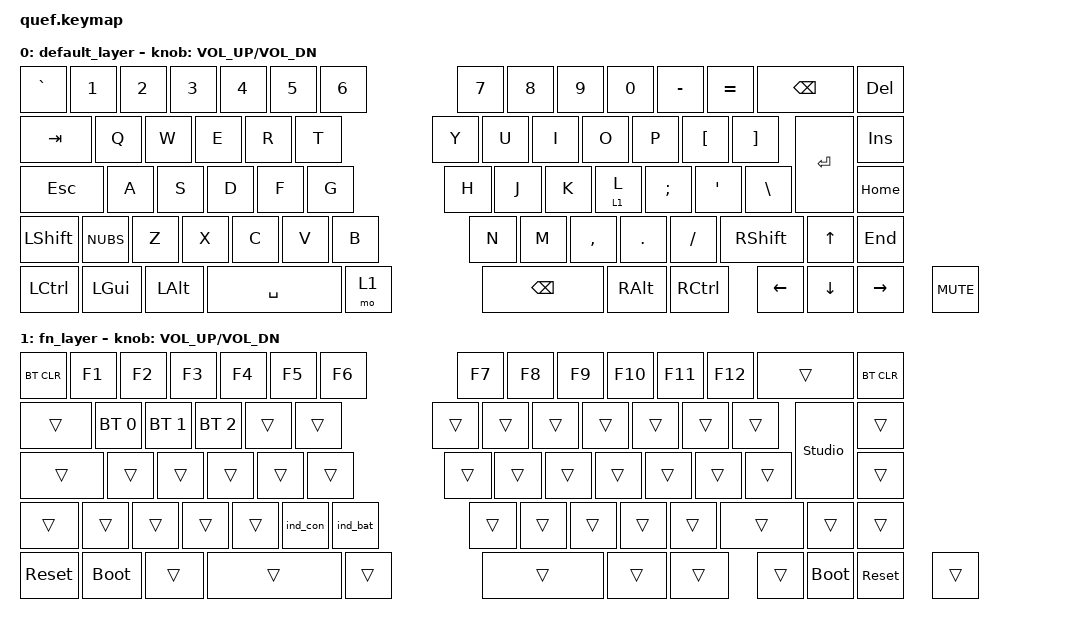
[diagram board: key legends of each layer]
/*
 * Copyright (c) 2020 The ZMK Contributors
 *
 * SPDX-License-Identifier: MIT
 */

#include <behaviors.dtsi>
#include <dt-bindings/zmk/bt.h>
#include <dt-bindings/zmk/keys.h>
#include <behaviors/rgbled_widget.dtsi>  // needed to use rgb_widget behaviors
#include <dt-bindings/zmk/ext_power.h>

/ {
    keymap {
        compatible = "zmk,keymap";

// ----------------------------------------------      -----------------------------------------------------
// | 0    |  1   |  2  |  3   |  4  |  5  |  6  |      |  7  |  8  |  9  |  ö  |  ü  |  ó  |  BKSPC | DEL  |
// | TAB   |  Q   |  W  |  E   |  R  |  T  |        |  Z  |  U  |  I  |  O  |  P  |  Ő  |  Ú  | ENT | INS  |
// | ESC    |  A   |  S  |  D   |  F  |  G  |        |  H  |  J  |  K  |  L  |  É  |  Á  |  ű  |    | HOME |
// | SHIFT | Í | Y  |  X  |  C  |  V   |  B  |        |  N  |  M  |  ,  |  .  |  -  |  RSHFT  |  UP | END  |
// | LCTRL   | LGUI | LALT |   FN   | SPACE  |          |     SPACE     | RALT | RCTRL  | LFT | DWN | RGHT |
// -------------------------------------------        ------------------------------------------------------

        default_layer {
            bindings = <
    &kp GRAVE            &kp N1   &kp N2   &kp N3    &kp N4 &kp N5 &kp N6 /**/ &kp N7    &kp N8   &kp N9    &kp N0    &kp MINUS &kp EQUAL      &kp BSPC      &kp DEL
    &kp TAB              &kp Q    &kp W    &kp E     &kp R  &kp T         /**/ &kp Y     &kp U    &kp I     &kp O     &kp P     &kp LBKT  &kp RBKT  &kp RET  &kp INS
    &kp ESC              &kp A    &kp S    &kp D     &kp F  &kp G         /**/ &kp H     &kp J    &kp K     &lt 1 L   &kp SEMI  &kp SQT   &kp BSLH           &kp HOME
    &kp LSHFT &kp NUBS  &kp Z    &kp X    &kp C     &kp V  &kp B         /**/  &kp N     &kp M    &kp COMMA &kp DOT   &kp FSLH      &kp RSHFT       &kp UP   &kp END
    &kp LCTRL            &kp LGUI &kp LALT &kp SPACE   &mo 1             /**/ &kp BSPC           &kp RALT  &kp RCTRL                     &kp LEFT  &kp DOWN &kp RIGHT   &kp C_MUTE
            >;
            sensor-bindings = <&inc_dec_kp C_VOL_UP C_VOL_DN>;
        };

// ----------------------------------------------     -----------------------------------------------------
// |BT_CLR|  F1  |  F2 |  F3  |  F4 |  F5 |  F6 |     |  F7 |  F8 |  F9 | F10 | F11 | F12 |        |BT_CLR|
// |       | BT-0 | BT-1| BT-2 |     |     |       |     |     |     |     |     |     |     |     |      |
// |        |      |     |      |     |     |       |     |     |     |     |     |     |     |    |      |
// |         |      |     |     |      |     |       |     |     |     |     |     |         |     |      |
// |         |      |     |     | bootloader |         |               |      |        |     |     |      |
// -------------------------------------------       ------------------------------------------------------

        fn_layer {
            bindings = <
    &bt BT_CLR       &kp F1       &kp F2       &kp F3       &kp F4   &kp F5 &kp F6 /**/ &kp F7 &kp F8 &kp F9 &kp F10 &kp F11 &kp F12      &trans             &bt BT_CLR
    &trans           &bt BT_SEL 0 &bt BT_SEL 1 &bt BT_SEL 2 &trans   &trans        /**/ &trans &trans &trans &trans  &trans  &trans  &trans   &studio_unlock &trans
    &trans           &trans       &trans       &trans       &trans   &trans        /**/ &trans &trans &trans &trans  &trans  &trans  &trans                  &trans
    &trans   &trans  &trans       &trans       &trans       &ind_con &ind_bat      /**/ &trans &trans &trans &trans  &trans  &trans  &trans                  &trans
    &sys_reset       &bootloader  &trans       &trans       &trans                 /**/ &trans        &trans &trans          &trans  &bootloader             &sys_reset   &trans
            >;
            sensor-bindings = <&inc_dec_kp C_VOL_UP C_VOL_DN>;
        };
    };
};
